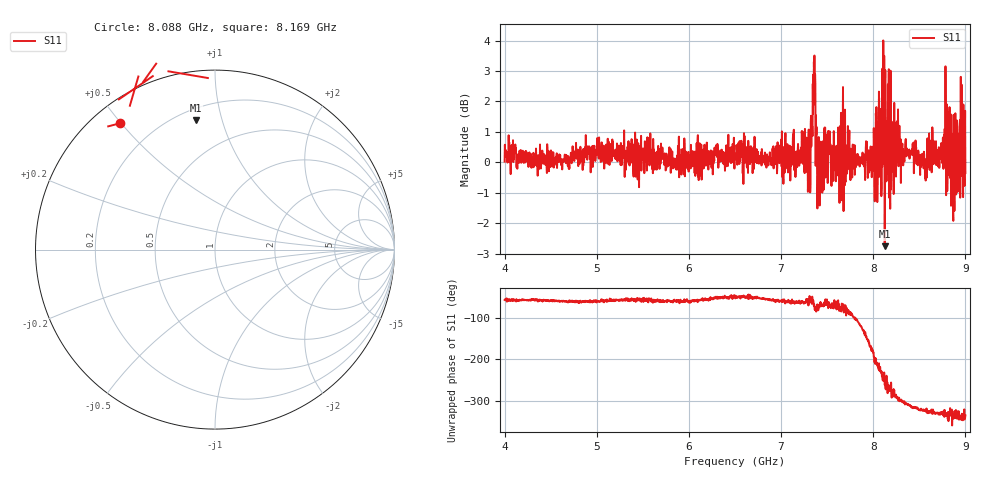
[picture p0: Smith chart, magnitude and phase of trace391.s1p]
! Created with skrf 1.8.0 (http://scikit-rf.org).
# Hz S RI R 50.0
!freq ReS11 ImS11
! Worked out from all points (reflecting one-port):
!   1601 points, 4 GHz to 9 GHz, reference 50 ohm
!   lowest |S11| = -2.8 dB at 8.125 GHz (marker M1), VSWR 6.35, Z = 13.5 + j41.4 ohm
!   phase of S11 starts at -57 deg and turns -277 deg over the sweep
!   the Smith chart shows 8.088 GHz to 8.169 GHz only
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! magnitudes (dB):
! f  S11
! 4 GHz  0.0
! 4.625 GHz  -0.2
! 5.25 GHz  0.1
! 5.875 GHz  0.2
! 6.5 GHz  0.2
! 7.125 GHz  -0.1
! 7.294 GHz  0.0
! 7.316 GHz  -1.0
! 7.347 GHz  1.6
! 7.366 GHz  2.0
! 7.4 GHz  -0.4
! 7.416 GHz  -1.3
! 7.509 GHz  -0.4
! 7.609 GHz  0.4
! 7.647 GHz  0.4
! 7.7 GHz  -0.6
! 7.75 GHz  -0.5
! 8 GHz  0.0
! 8.053 GHz  0.2
! 8.125 GHz  -2.8
! 8.178 GHz  2.3
! 8.197 GHz  0.5
! 8.375 GHz  0.4
! 8.556 GHz  -0.2
! 8.803 GHz  -0.9
! 8.856 GHz  -1.1
! 8.956 GHz  -0.2
! 9 GHz  -0.4
